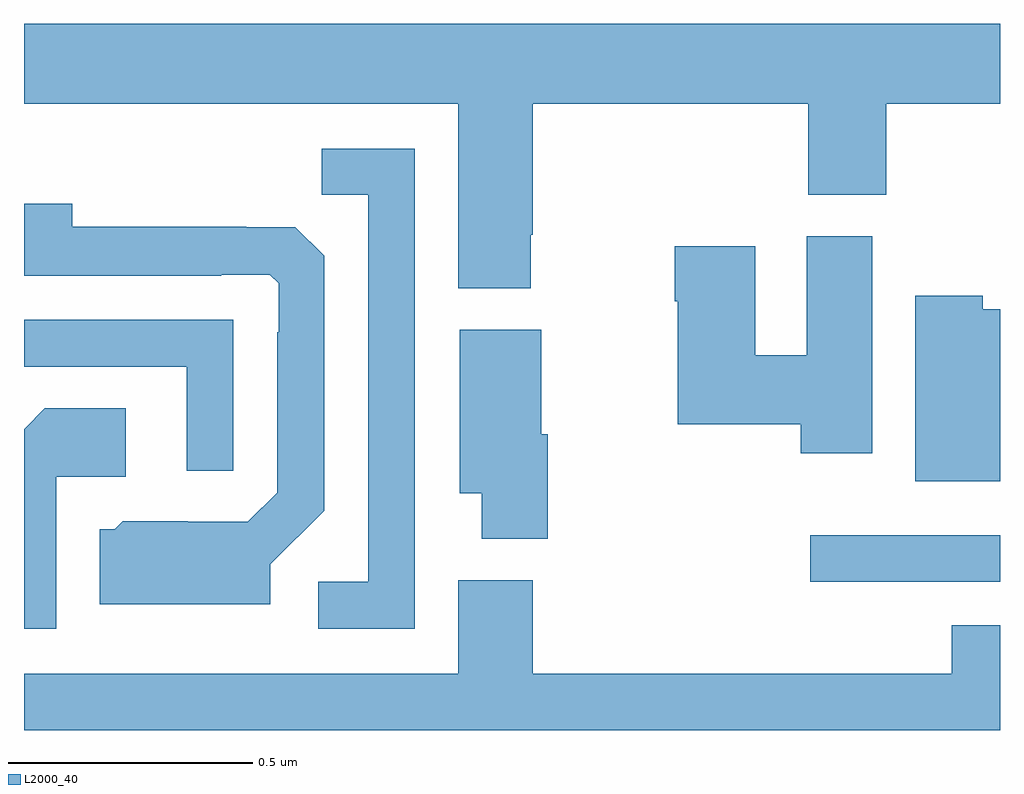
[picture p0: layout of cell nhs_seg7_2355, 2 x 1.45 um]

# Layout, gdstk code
import gdstk
lib = gdstk.Library(unit=1e-6, precision=1e-09)
def R(c, l, rs):  # rectangles x0, y0, x1, y1
    for r in rs: c.add(gdstk.rectangle(r[:2], r[2:], *l))
def P(c, l, *ps):  # polygons
    for p in ps: c.add(gdstk.Polygon(p, *l))
L2000_40 = (2000, 40)

nhs_seg7_2355 = lib.new_cell('nhs_seg7_2355')
R(nhs_seg7_2355, L2000_40, [(145.611,998.304,146,998.4)])
P(nhs_seg7_2355, L2000_40, [(144,999.284),(144.89,999.284),(144.89,998.906),(145.038,998.906),(145.038,999.016),(145.043,999.016),(145.043,999.284),(145.607,999.284),(145.607,999.097),(145.767,999.097),(145.767,999.284),(146,999.284),(146,999.448),(144,999.448)],
  [(144.801,999.192),(144.61,999.192),(144.61,999.097),(144.705,999.097),(144.705,998.304),(144.603,998.304),(144.603,998.208),(144.801,998.208)],
  [(144.505,998.34),(144.615,998.45),(144.615,998.972),(144.556,999.031),(144.455,999.031),(144.455,999.032),(144.099,999.032),(144.099,999.079),(144,999.079),(144,998.931),(144.404,998.931),(144.404,998.934),(144.504,998.934),(144.522,998.916),(144.522,998.816),(144.519,998.816),(144.519,998.487),(144.459,998.427),(144.336,998.427),(144.336,998.428),(144.202,998.428),(144.186,998.412),(144.155,998.412),(144.155,998.258),(144.505,998.258)],
  [(145.738,999.012),(145.604,999.012),(145.604,998.769),(145.498,998.769),(145.498,998.992),(145.333,998.992),(145.333,998.879),(145.34,998.879),(145.34,998.627),(145.592,998.627),(145.592,998.568),(145.738,998.568)],
  [(146,998.863),(145.965,998.863),(145.965,998.89),(145.826,998.89),(145.826,998.51),(146,998.51)],
  [(144.429,998.841),(144,998.841),(144,998.745),(144.333,998.745),(144.333,998.532),(144.429,998.532)],
  [(145.073,998.607),(145.06,998.607),(145.06,998.821),(144.893,998.821),(144.893,998.486),(144.938,998.486),(144.938,998.393),(145.073,998.393)],
  [(144.066,998.52),(144.208,998.52),(144.208,998.66),(144.043,998.66),(144,998.617),(144,998.208),(144.066,998.208)],
  [(146,998.215),(145.901,998.215),(145.901,998.116),(145.043,998.116),(145.043,998.308),(144.89,998.308),(144.89,998.116),(144,998.116),(144,998),(146,998)])

lib.write_gds('nhs_seg7_2355.gds')
